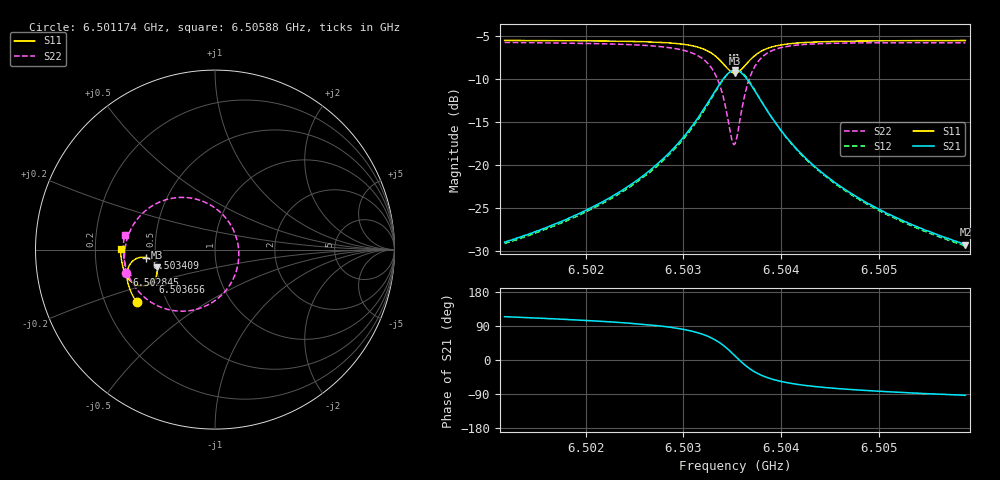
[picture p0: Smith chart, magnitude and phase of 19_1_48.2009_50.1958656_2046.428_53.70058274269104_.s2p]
#  HZ  S  RI  R  50.00
! Rohde & Schwarz Vector Network Analyzer
! Rohde-Schwarz,ZNB20-2Port,1311601062101988,3.16
! Created: UTC 3/20/2024, 11:36:52 AM
! freq[Hz]  re:S11  im:S11  re:S21  im:S21  re:S12  im:S12  re:S22  im:S22
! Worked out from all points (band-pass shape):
!   401 points, 6.501174 GHz to 6.50588 GHz, reference 50 ohm
!   highest |S21| = -9.01 dB at 6.503527 GHz (marker M1); lowest = -29.2 dB at 6.50588 GHz (marker M2)
!   |S21| within 3 dB of the highest: 6.503292 GHz to 6.503763 GHz (470.9 kHz wide, 0.00724 % of centre)
!   lowest |S11| = -9.4 dB at 6.503527 GHz (marker M3), VSWR 2.03, Z = 25 - j5.61 ohm
!   |S11| at or under -10 dB: nowhere
!   |S22| runs from -17.6 to -5.8 dB; largest |S21 - S12| = 0.012
!   S11 on the Smith chart (normalised r, x): 6.501174 GHz: 0.34, -0.27; 6.502845 GHz: 0.33, -0.12; 6.503409 GHz: 0.45, -0.05; 6.503656 GHz: 0.46, -0.20; 6.50588 GHz: 0.31, +0.00
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6.5011737e9  -0.4363 -0.2947  -0.0148 0.0326  -0.0129 0.0326  -0.4953 -0.1326
6.5019621e9  -0.4688 -0.2344  -0.0136 0.0515  -0.0112 0.0509  -0.5046 -0.0447
6.5023857e9  -0.4828 -0.1953  -0.0104 0.0714  -0.00737 0.0701  -0.4993 0.0191
6.5027504e9  -0.4905 -0.153  -0.000263 0.1034  0.00346 0.1007  -0.4759 0.0974
6.5028445e9  -0.4908 -0.1394  0.00578 0.116  0.00956 0.1129  -0.4629 0.1242
6.5030446e9  -0.4849 -0.1047  0.031 0.1528  0.0346 0.1478  -0.4107 0.1951
6.5031858e9  -0.4683 -0.0743  0.0729 0.1879  0.0753 0.1815  -0.3296 0.2552
6.5033152e9  -0.4305 -0.0471  0.1534 0.2141  0.1537 0.2076  -0.1832 0.2909
6.5034093e9  -0.382 -0.045  0.2486 0.1962  0.2486 0.1915  -0.0182 0.2442
6.5034917e9  -0.3371 -0.0759  0.3297 0.1177  0.3324 0.1137  0.1115 0.0892
6.503527e9  -0.3258 -0.0992  0.3479 0.0667  0.3518 0.0613  0.1324 -0.00676
6.5035505e9  -0.3228 -0.1163  0.3512 0.0306  0.3556 0.0237  0.1294 -0.0734
6.5035858e9  -0.325 -0.1417  0.3433 -0.0218  0.3471 -0.031  0.1003 -0.1665
6.5036564e9  -0.3482 -0.1807  0.294 -0.1013  0.2942 -0.1133  -0.0164 -0.2951
6.5037506e9  -0.3908 -0.2015  0.2119 -0.146  0.2068 -0.1568  -0.1837 -0.3431
6.5038212e9  -0.418 -0.2016  0.1621 -0.1513  0.1553 -0.1597  -0.2767 -0.3295
6.5039035e9  -0.442 -0.1944  0.1199 -0.1449  0.1123 -0.1506  -0.3509 -0.2965
6.5040683e9  -0.472 -0.1732  0.07 -0.1227  0.0632 -0.1253  -0.4317 -0.2264
6.5043153e9  -0.4951 -0.142  0.0358 -0.0947  0.0307 -0.0951  -0.4808 -0.146
6.5046801e9  -0.5114 -0.1024  0.0153 -0.0687  0.0118 -0.0684  -0.5045 -0.0671
6.5051037e9  -0.5205 -0.0621  0.00554 -0.0516  0.00305 -0.0508  -0.5107 -0.00313
6.5058803e9  -0.5261 0.00468  -0.0019 -0.0346  -0.00328 -0.0338  -0.5038 0.083
